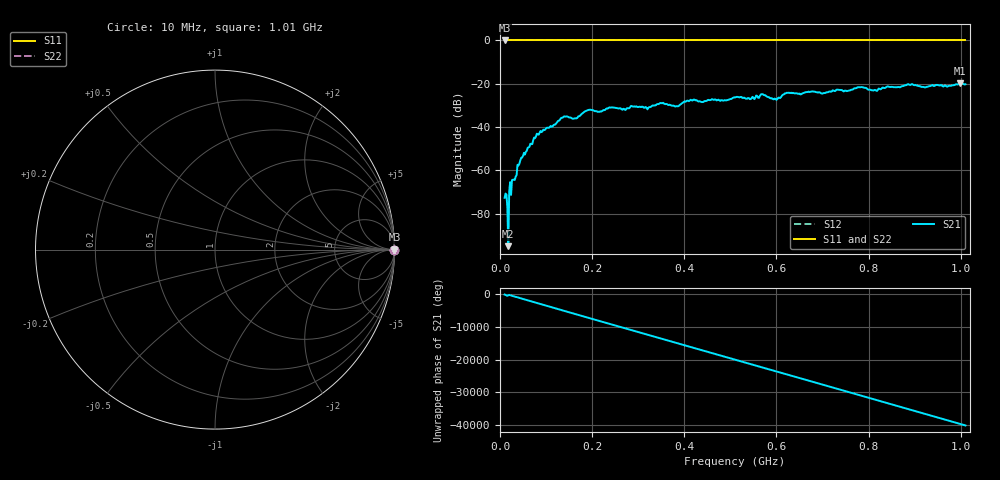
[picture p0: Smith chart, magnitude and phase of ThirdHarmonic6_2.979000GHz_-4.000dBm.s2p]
! 8/17/2025 8:27:20 AM
! C:\ANRITSUVNA\TEMP\TEMP.S2P
! CHANNEL.1
! TR.MEASUREMENT
! RAW.DATA
! RF.CORRECTION.OFF
! AVERAGING.OFF
! IF.BANDWIDTH: 5KHZ
! SWEEPTYPE:  FREQ.SWEEP(Linear)
! Reference Plane Port Info
! PORT:  PORT1  PORT2
! DISTANCE:  0  m  0  m
! TIME:  0  s  0  s
! PHASE.OFFSET:  0  deg.  0  deg.
! LOSS:  0  dB  0  dB
! REF.LOSS:  0  dB  0  dB
! REF.FREQ:  0  Hz  0  Hz
! Power Info
! POWER:  -20  dBm  -20  dBm
! EFF.POWER:  -20  dBm  -20  dBm
! SOURCE.ATTEN:  0  dB  0  dB
! TEST.ATTEN:  0  dB  0  dB
# GHZ S RI R 50.0
! FREQ.GHZ  S11RE  S11IM  S21RE  S21IM  S12RE  S12IM  S22RE  S22IM
!; PortSelection: Port_12
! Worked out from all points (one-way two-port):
!   501 points, 10 MHz to 1.01 GHz, reference 50 ohm
!   highest |S21| = -19.74 dB at 998 MHz (marker M1); lowest = -95.1 dB at 18 MHz (marker M2)
!   lowest |S11| = 0.0 dB at 10 MHz (marker M3)
!   |S11| at or under -10 dB: nowhere
!   |S22| runs from 0.0 to 0.0 dB; largest |S21 - S12| = 1.1
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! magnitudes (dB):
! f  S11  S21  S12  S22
! 10 MHz  0.0  -72.7  0.0  0.0
! 14 MHz  0.0  -71.2  0.0  0.0
! 18 MHz  0.0  -95.1  0.0  0.0
! 20 MHz  0.0  -69.8  0.0  0.0
! 24 MHz  0.0  -71.4  0.0  0.0
! 32 MHz  0.0  -64.5  0.0  0.0
! 42 MHz  0.0  -57.0  0.0  0.0
! 78 MHz  0.0  -44.4  0.0  0.0
! 136 MHz  0.0  -35.7  0.0  0.0
! 162 MHz  0.0  -36.0  0.0  0.0
! 178 MHz  0.0  -33.9  0.0  0.0
! 344 MHz  0.0  -29.4  0.0  0.0
! 384 MHz  0.0  -30.3  0.0  0.0
! 418 MHz  0.0  -27.7  0.0  0.0
! 510 MHz  0.0  -26.3  0.0  0.0
! 570 MHz  0.0  -24.9  0.0  0.0
! 598 MHz  0.0  -27.0  0.0  0.0
! 622 MHz  0.0  -24.2  0.0  0.0
! 678 MHz  0.0  -23.5  0.0  0.0
! 844 MHz  0.0  -21.4  0.0  0.0
! 998 MHz  0.0  -19.7  0.0  0.0
! 1.01 GHz  0.0  -20.3  0.0  0.0
